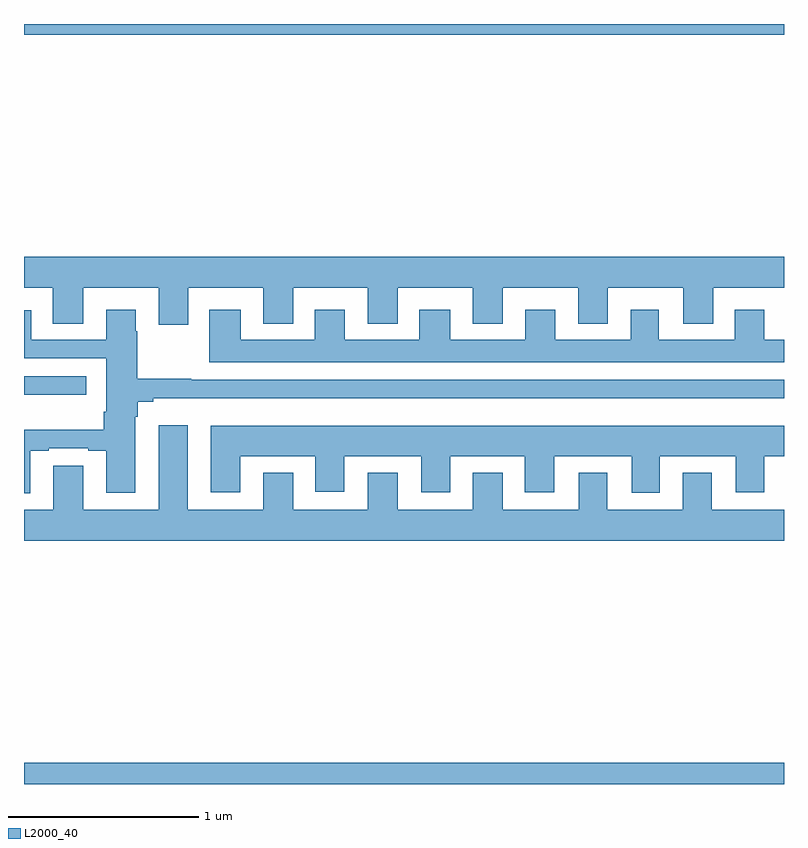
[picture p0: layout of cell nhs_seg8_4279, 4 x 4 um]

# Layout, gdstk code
import gdstk
lib = gdstk.Library(unit=1e-6, precision=1e-09)
def R(c, l, rs):  # rectangles x0, y0, x1, y1
    for r in rs: c.add(gdstk.rectangle(r[:2], r[2:], *l))
def P(c, l, *ps):  # polygons
    for p in ps: c.add(gdstk.Polygon(p, *l))
L2000_40 = (2000, 40)

nhs_seg8_4279 = lib.new_cell('nhs_seg8_4279')
R(nhs_seg8_4279, L2000_40, [(373,1101.9,377,1102.012), (373,1103.948,373.327,1104.045), (373,1105.844,377,1105.9)])
P(nhs_seg8_4279, L2000_40, [(373.864,1104.512),(374.258,1104.512),(374.258,1104.323),(374.416,1104.323),(374.416,1104.512),(374.81,1104.512),(374.81,1104.323),(374.968,1104.323),(374.968,1104.512),(375.362,1104.512),(375.362,1104.323),(375.52,1104.323),(375.52,1104.512),(375.917,1104.512),(375.917,1104.323),(376.072,1104.323),(376.072,1104.512),(376.469,1104.512),(376.469,1104.323),(376.627,1104.323),(376.627,1104.512),(377,1104.512),(377,1104.676),(373,1104.676),(373,1104.512),(373.151,1104.512),(373.151,1104.322),(373.312,1104.322),(373.312,1104.512),(373.709,1104.512),(373.709,1104.318),(373.864,1104.318)],
  [(377,1104.238),(376.897,1104.238),(376.897,1104.397),(376.742,1104.397),(376.742,1104.238),(376.342,1104.238),(376.342,1104.397),(376.193,1104.397),(376.193,1104.238),(375.796,1104.238),(375.796,1104.397),(375.638,1104.397),(375.638,1104.238),(375.244,1104.238),(375.244,1104.397),(375.08,1104.397),(375.08,1104.238),(374.689,1104.238),(374.689,1104.397),(374.531,1104.397),(374.531,1104.238),(374.14,1104.238),(374.14,1104.397),(373.976,1104.397),(373.976,1104.119),(377,1104.119)],
  [(373.033,1103.655),(373.129,1103.655),(373.129,1103.667),(373.337,1103.667),(373.337,1103.655),(373.433,1103.655),(373.433,1103.433),(373.585,1103.433),(373.585,1103.834),(373.598,1103.834),(373.598,1103.911),(373.681,1103.911),(373.681,1103.93),(377,1103.93),(377,1104.027),(373.88,1104.027),(373.88,1104.032),(373.596,1104.032),(373.596,1104.284),(373.588,1104.284),(373.588,1104.397),(373.433,1104.397),(373.433,1104.237),(373.039,1104.237),(373.039,1104.394),(373,1104.394),(373,1104.141),(373.433,1104.141),(373.433,1103.86),(373.421,1103.86),(373.421,1103.765),(373,1103.765),(373,1103.429),(373.033,1103.429)],
  [(374.258,1103.539),(374.258,1103.344),(373.861,1103.344),(373.861,1103.788),(373.709,1103.788),(373.709,1103.344),(373.312,1103.344),(373.312,1103.575),(373.154,1103.575),(373.154,1103.344),(373,1103.344),(373,1103.18),(377,1103.18),(377,1103.344),(376.621,1103.344),(376.621,1103.539),(376.466,1103.539),(376.466,1103.344),(376.069,1103.344),(376.069,1103.539),(375.92,1103.539),(375.92,1103.344),(375.52,1103.344),(375.52,1103.539),(375.362,1103.539),(375.362,1103.344),(374.968,1103.344),(374.968,1103.539),(374.81,1103.539),(374.81,1103.344),(374.416,1103.344),(374.416,1103.539)],
  [(376.345,1103.624),(376.745,1103.624),(376.745,1103.436),(376.897,1103.436),(376.897,1103.624),(377,1103.624),(377,1103.785),(373.982,1103.785),(373.982,1103.436),(374.137,1103.436),(374.137,1103.624),(374.534,1103.624),(374.534,1103.439),(374.686,1103.439),(374.686,1103.624),(375.092,1103.624),(375.092,1103.436),(375.244,1103.436),(375.244,1103.624),(375.635,1103.624),(375.635,1103.436),(375.79,1103.436),(375.79,1103.624),(376.199,1103.624),(376.199,1103.433),(376.345,1103.433)])

lib.write_gds('nhs_seg8_4279.gds')
